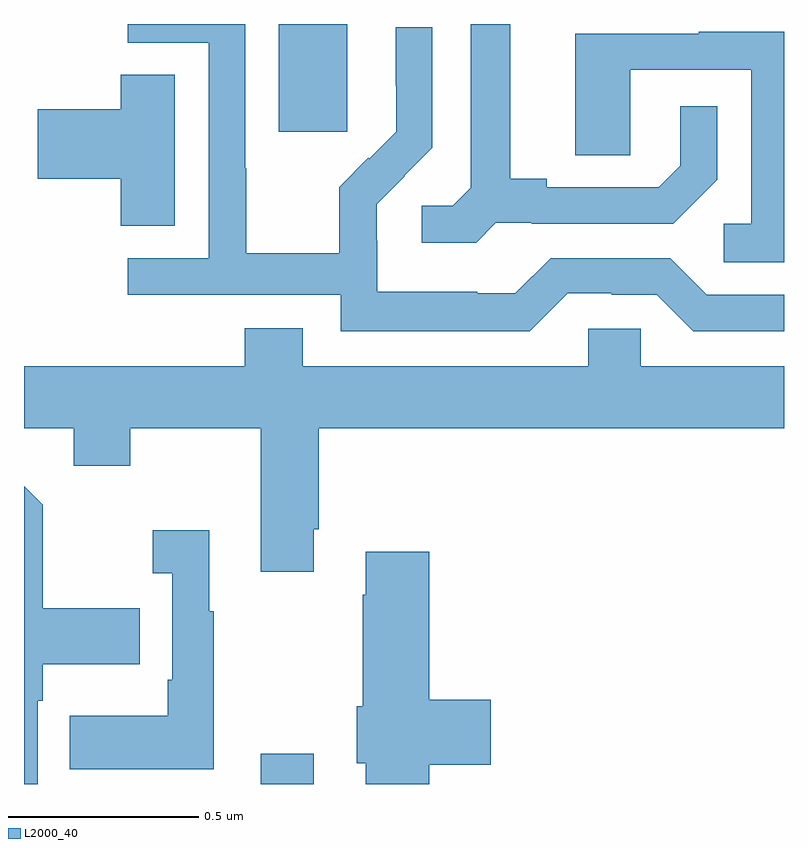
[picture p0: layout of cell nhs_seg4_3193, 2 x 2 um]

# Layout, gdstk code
import gdstk
lib = gdstk.Library(unit=1e-6, precision=1e-09)
def R(c, l, rs):  # rectangles x0, y0, x1, y1
    for r in rs: c.add(gdstk.rectangle(r[:2], r[2:], *l))
def P(c, l, *ps):  # polygons
    for p in ps: c.add(gdstk.Polygon(p, *l))
L2000_40 = (2000, 40)

nhs_seg4_3193 = lib.new_cell('nhs_seg4_3193')
R(nhs_seg4_3193, L2000_40, [(150.623,779.9,150.763,779.98), (150.671,781.617,150.85,781.9)])
P(nhs_seg4_3193, L2000_40, [(151.242,781.377),(151.336,781.377),(151.336,781.374),(151.708,781.374),(151.824,781.49),(151.824,781.684),(151.727,781.684),(151.727,781.527),(151.67,781.47),(151.375,781.47),(151.375,781.493),(151.279,781.493),(151.279,781.9),(151.175,781.9),(151.175,781.469),(151.128,781.422),(151.047,781.422),(151.047,781.325),(151.19,781.325)],
  [(151.431,781.191),(151.547,781.191),(151.547,781.188),(151.665,781.188),(151.761,781.092),(152,781.092),(152,781.188),(151.797,781.188),(151.701,781.284),(151.386,781.284),(151.293,781.191),(151.193,781.191),(151.193,781.195),(150.93,781.195),(150.93,781.329),(150.928,781.329),(150.928,781.426),(151.002,781.5),(151.001,781.501),(151.074,781.574),(151.074,781.892),(150.978,781.892),(150.978,781.738),(150.98,781.738),(150.98,781.616),(150.909,781.545),(150.906,781.548),(150.829,781.471),(150.829,781.297),(150.585,781.297),(150.585,781.52),(150.582,781.52),(150.582,781.9),(150.273,781.9),(150.273,781.851),(150.486,781.851),(150.486,781.284),(150.273,781.284),(150.273,781.188),(150.834,781.188),(150.834,781.091),(151.331,781.091)],
  [(152,781.879),(151.775,781.879),(151.775,781.875),(151.451,781.875),(151.451,781.555),(151.596,781.555),(151.596,781.779),(151.914,781.779),(151.914,781.374),(151.842,781.374),(151.842,781.273),(152,781.273)],
  [(150.397,781.766),(150.254,781.766),(150.254,781.676),(150.036,781.676),(150.036,781.493),(150.254,781.493),(150.254,781.369),(150.397,781.369)],
  [(150.763,780.571),(150.776,780.571),(150.776,780.836),(152,780.836),(152,781),(151.623,781),(151.623,781.098),(151.485,781.098),(151.485,781),(150.733,781),(150.733,781.099),(150.581,781.099),(150.581,781),(150,781),(150,780.836),(150.131,780.836),(150.131,780.737),(150.279,780.737),(150.279,780.836),(150.623,780.836),(150.623,780.459),(150.763,780.459)],
  [(150.036,780.119),(150.049,780.119),(150.049,780.215),(150.305,780.215),(150.305,780.363),(150.049,780.363),(150.049,780.635),(150,780.684),(150,779.9),(150.036,779.9)],
  [(150.499,780.355),(150.487,780.355),(150.487,780.568),(150.339,780.568),(150.339,780.455),(150.39,780.455),(150.39,780.175),(150.378,780.175),(150.378,780.079),(150.121,780.079),(150.121,779.939),(150.499,779.939)],
  [(151.067,779.951),(151.228,779.951),(151.228,780.122),(151.067,780.122),(151.067,780.511),(150.899,780.511),(150.899,780.398),(150.892,780.398),(150.892,780.105),(150.875,780.105),(150.875,779.955),(150.899,779.955),(150.899,779.9),(151.067,779.9)])

lib.write_gds('nhs_seg4_3193.gds')
